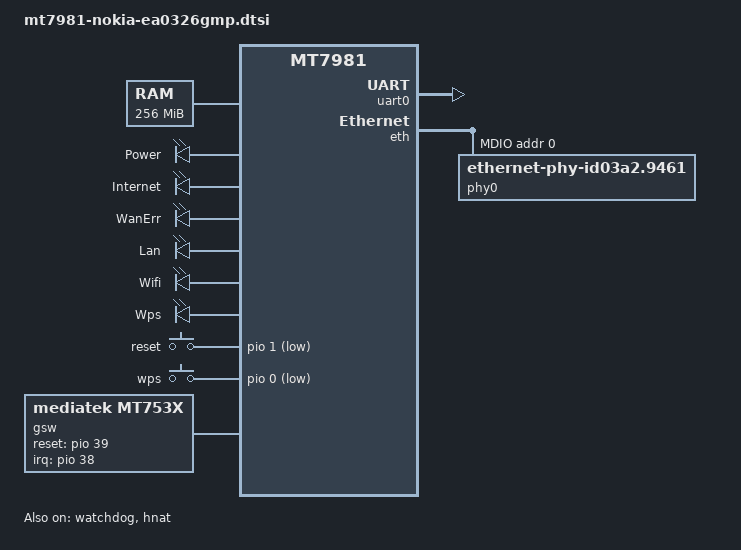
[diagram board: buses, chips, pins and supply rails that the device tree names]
/dts-v1/;
#include "mt7981.dtsi"

/ {
	aliases {
		led-boot = &power_led;
		led-failsafe = &power_led;
		led-running = &internet_led;
		led-upgrade = &wps_led;
	};

	memory {
		reg = <0 0x40000000 0 0x10000000>;
	};

	leds {
		compatible = "gpio-leds";

		power_led: led0 {
			label = "Power";
			gpios = <0x0d 0x04 0x01>;
			function = "power";
			default-state = "on";
		};

		internet_led: led1 {
			label = "Internet";
			gpios = <0x0d 0x05 0x01>;
			function = "wan";
			default-state = "off";
		};

		wan_led: led2 {
			label = "WanErr";
			gpios = <0x0d 0x06 0x01>;
			default-state = "off";
		};

		lan_led: led3 {
			label = "Lan";
			gpios = <0x0d 0x07 0x01>;
			function = "lan";
			default-state = "off";
		};

		wifi_led: led4 {
			label = "Wifi";
			gpios = <0x0d 0x08 0x01>;
			function = "wlan";
			default-state = "off";
		};

		wps_led: led5 {
			label = "Wps";
			gpios = <0x0d 0x09 0x01>;
			function = "wps";
			default-state = "off";
		};
	};

	gpio-keys {
		compatible = "gpio-keys";

		reset {
			label = "reset";
			linux,code = <KEY_RESTART>;
			gpios = <&pio 1 GPIO_ACTIVE_LOW>;
		};

		wps {
			label = "wps";
			linux,code = <BTN_9>;
			gpios = <&pio 0 GPIO_ACTIVE_LOW>;
		};
	};

	gsw: gsw@0 {
		compatible = "mediatek,mt753x";
		mediatek,ethsys = <&ethsys>;
		#address-cells = <1>;
		#size-cells = <0>;
	};
};

&uart0 {
	status = "okay";
};

&watchdog {
	status = "okay";
};

&eth {
	status = "okay";

	gmac0: mac@0 {
		compatible = "mediatek,eth-mac";
		reg = <0>;
		phy-mode = "2500base-x";

		fixed-link {
			speed = <2500>;
			full-duplex;
			pause;
		};
	};

	gmac1: mac@1 {
		compatible = "mediatek,eth-mac";
		reg = <1>;
		phy-mode = "gmii";
		phy-handle = <&phy0>;
	};

	mdio: mdio-bus {
		#address-cells = <1>;
		#size-cells = <0>;

		phy0: ethernet-phy@0 {
			compatible = "ethernet-phy-id03a2.9461";
			reg = <0>;
			phy-mode = "gmii";
			nvmem-cells = <&phy_calibration>;
			nvmem-cell-names = "phy-cal-data";
		};
	};
};

&gsw {
	mediatek,mdio = <&mdio>;
	mediatek,mdio_master_pinmux = <0>;
	reset-gpios = <&pio 39 0>;
	interrupt-parent = <&pio>;
	interrupts = <38 IRQ_TYPE_LEVEL_HIGH>;
	status = "okay";

	port6: port@6 {
		compatible = "mediatek,mt753x-port";
		mediatek,ssc-on;
		reg = <6>;
		phy-mode = "sgmii";

		fixed-link {
			speed = <2500>;
			full-duplex;
		};
	};
};

&hnat {
	mtketh-wan = "eth1";
	mtketh-lan = "eth0";
	mtketh-max-gmac = <2>;
	status = "okay";
};

